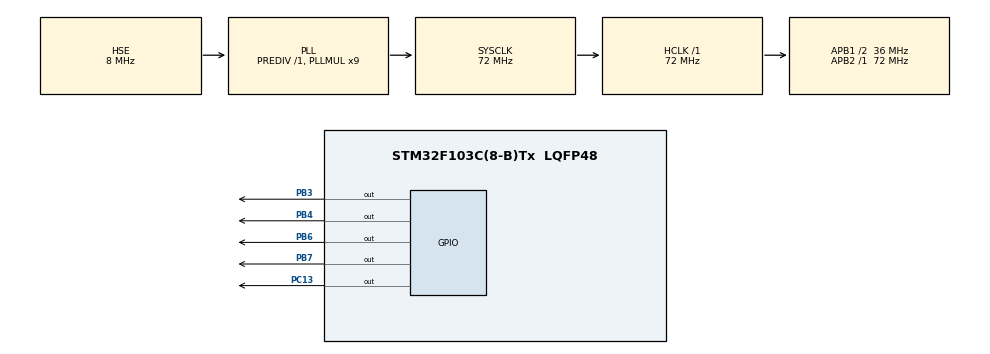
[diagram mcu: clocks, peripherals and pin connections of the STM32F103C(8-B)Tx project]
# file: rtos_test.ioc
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FREERTOS.Tasks01=defaultTask,-1,128,StartDefaultTask,Default,NULL,Dynamic,NULL,NULL;motorATask,0,128,StartMotorATask,Default,NULL,Dynamic,NULL,NULL;motorBTask,0,128,StartMotorBTask,Default,NULL,Dynamic,NULL,NULL
Mcu.Family=STM32F1
Mcu.Name=STM32F103C(8-B)Tx
Mcu.Package=LQFP48
NVIC.PriorityGroup=NVIC_PRIORITYGROUP_4
NVIC.TIM4_IRQn=true\:0\:0\:false\:false\:true\:false\:false\:true
NVIC.TimeBase=TIM4_IRQn
NVIC.TimeBaseIP=TIM4
PA13.Mode=Serial_Wire
PA13.Signal=SYS_JTMS-SWDIO
PA14.Mode=Serial_Wire
PA14.Signal=SYS_JTCK-SWCLK
PB3.Signal=GPIO_Output
PB4.Signal=GPIO_Output
PB6.Signal=GPIO_Output
PB7.Signal=GPIO_Output
PC13-TAMPER-RTC.Signal=GPIO_Output
PD0-OSC_IN.Mode=HSE-External-Oscillator
PD0-OSC_IN.Signal=RCC_OSC_IN
PD1-OSC_OUT.Mode=HSE-External-Oscillator
PD1-OSC_OUT.Signal=RCC_OSC_OUT
ProjectManager.HeapSize=0x200
ProjectManager.StackSize=0x400
ProjectManager.TargetToolchain=MDK-ARM V5.27
RCC.AHBFreq_Value=72000000
RCC.APB1CLKDivider=RCC_HCLK_DIV2
RCC.APB1Freq_Value=36000000
RCC.APB1TimFreq_Value=72000000
RCC.APB2Freq_Value=72000000
RCC.APB2TimFreq_Value=72000000
RCC.HCLKFreq_Value=72000000
RCC.PLLMUL=RCC_PLL_MUL9
RCC.PLLSourceVirtual=RCC_PLLSOURCE_HSE
RCC.SYSCLKFreq_VALUE=72000000
RCC.SYSCLKSource=RCC_SYSCLKSOURCE_PLLCLK
RCC.USBFreq_Value=72000000
VP_FREERTOS_VS_CMSIS_V1.Mode=CMSIS_V1
VP_SYS_VS_tim4.Mode=TIM4
board=custom

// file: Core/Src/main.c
/* USER CODE BEGIN Header */
/**
  ******************************************************************************
  * @file           : main.c
  * @brief          : Main program body
  ******************************************************************************
  * @attention
  *
  * <h2><center>&copy; Copyright (c) 2025 STMicroelectronics.
  * All rights reserved.</center></h2>
  *
  * This software component is licensed by ST under Ultimate Liberty license
  * SLA0044, the "License"; You may not use this file except in compliance with
  * the License. You may obtain a copy of the License at:
  *                             www.st.com/SLA0044
  *
  ******************************************************************************
  */
/* USER CODE END Header */
#include "main.h"
#include "cmsis_os.h"

osThreadId defaultTaskHandle;
osThreadId motorATaskHandle;
osThreadId motorBTaskHandle;

void SystemClock_Config(void);
static void MX_GPIO_Init(void);
void StartDefaultTask(void const * argument);
void StartMotorATask(void const * argument);
void StartMotorBTask(void const * argument);

/* USER CODE BEGIN PFP */
void Stepper_a(int n, GPIO_PinState PinState, int delay);
void Stepper_b(int n, GPIO_PinState PinState, int delay);
/* USER CODE END PFP */

int main(void)
{

  /* MCU Configuration--------------------------------------------------------*/

  /* Reset of all peripherals, Initializes the Flash interface and the Systick. */
  HAL_Init();

  /* Configure the system clock */
  SystemClock_Config();

  /* Initialize all configured peripherals */
  MX_GPIO_Init();
  /* USER CODE BEGIN 2 */
	HAL_GPIO_WritePin(GPIOB, GPIO_PIN_3, GPIO_PIN_RESET); //STEP Pin on the driver 1
	HAL_GPIO_WritePin(GPIOB, GPIO_PIN_7, GPIO_PIN_RESET); //STEP Pin on the driver 2

  /* USER CODE END 2 */

  /* Create the thread(s) */
  /* definition and creation of defaultTask */
  osThreadDef(defaultTask, StartDefaultTask, osPriorityBelowNormal, 0, 128);
  defaultTaskHandle = osThreadCreate(osThread(defaultTask), NULL);

  /* definition and creation of motorATask */
  osThreadDef(motorATask, StartMotorATask, osPriorityNormal, 0, 128);
  motorATaskHandle = osThreadCreate(osThread(motorATask), NULL);

  /* definition and creation of motorBTask */
  osThreadDef(motorBTask, StartMotorBTask, osPriorityNormal, 0, 128);
  motorBTaskHandle = osThreadCreate(osThread(motorBTask), NULL);

  /* Start scheduler */
  osKernelStart();

  /* We should never get here as control is now taken by the scheduler */
  /* Infinite loop */
  while (1)
  {
    /* USER CODE BEGIN 3 */
  }

}

void Stepper_a(int n, GPIO_PinState PinState, int delay)
{
		//Direction
		HAL_GPIO_WritePin(GPIOB, GPIO_PIN_4, PinState);

		//Steps
		for(int i=0; i<n; i++)
		{
				HAL_GPIO_WritePin(GPIOB, GPIO_PIN_3, GPIO_PIN_SET);
				HAL_Delay(delay);
				HAL_GPIO_WritePin(GPIOB, GPIO_PIN_3, GPIO_PIN_RESET);
				HAL_Delay(delay);
		}
}

void Stepper_b(int n, GPIO_PinState PinState, int delay)
{
		//Direction
		HAL_GPIO_WritePin(GPIOB, GPIO_PIN_6, PinState);

		//Steps
		for(int i=0; i<n; i++)
		{
				HAL_GPIO_WritePin(GPIOB, GPIO_PIN_7, GPIO_PIN_SET);
				HAL_Delay(delay);
				HAL_GPIO_WritePin(GPIOB, GPIO_PIN_7, GPIO_PIN_RESET);
				HAL_Delay(delay);
		}
}

/* USER CODE END 3 */
void SystemClock_Config(void)
{
  RCC_OscInitTypeDef RCC_OscInitStruct = {0};
  RCC_ClkInitTypeDef RCC_ClkInitStruct = {0};

  /** Initializes the RCC Oscillators according to the specified parameters
  * in the RCC_OscInitTypeDef structure.
  */
  RCC_OscInitStruct.OscillatorType = RCC_OSCILLATORTYPE_HSE;
  RCC_OscInitStruct.HSEState = RCC_HSE_ON;
  RCC_OscInitStruct.HSEPredivValue = RCC_HSE_PREDIV_DIV1;
  RCC_OscInitStruct.HSIState = RCC_HSI_ON;
  RCC_OscInitStruct.PLL.PLLState = RCC_PLL_ON;
  RCC_OscInitStruct.PLL.PLLSource = RCC_PLLSOURCE_HSE;
  RCC_OscInitStruct.PLL.PLLMUL = RCC_PLL_MUL9;
  if (HAL_RCC_OscConfig(&RCC_OscInitStruct) != HAL_OK)
  {
    Error_Handler();
  }
  /** Initializes the CPU, AHB and APB buses clocks
  */
  RCC_ClkInitStruct.ClockType = RCC_CLOCKTYPE_HCLK|RCC_CLOCKTYPE_SYSCLK
                              |RCC_CLOCKTYPE_PCLK1|RCC_CLOCKTYPE_PCLK2;
  RCC_ClkInitStruct.SYSCLKSource = RCC_SYSCLKSOURCE_PLLCLK;
  RCC_ClkInitStruct.AHBCLKDivider = RCC_SYSCLK_DIV1;
  RCC_ClkInitStruct.APB1CLKDivider = RCC_HCLK_DIV2;
  RCC_ClkInitStruct.APB2CLKDivider = RCC_HCLK_DIV1;

  if (HAL_RCC_ClockConfig(&RCC_ClkInitStruct, FLASH_LATENCY_2) != HAL_OK)
  {
    Error_Handler();
  }
}

static void MX_GPIO_Init(void)
{
  GPIO_InitTypeDef GPIO_InitStruct = {0};

  /* GPIO Ports Clock Enable */
  __HAL_RCC_GPIOC_CLK_ENABLE();
  __HAL_RCC_GPIOD_CLK_ENABLE();
  __HAL_RCC_GPIOA_CLK_ENABLE();
  __HAL_RCC_GPIOB_CLK_ENABLE();

  /*Configure GPIO pin Output Level */
  HAL_GPIO_WritePin(GPIOC, GPIO_PIN_13, GPIO_PIN_RESET);

  /*Configure GPIO pin Output Level */
  HAL_GPIO_WritePin(GPIOB, GPIO_PIN_3|GPIO_PIN_4|GPIO_PIN_6|GPIO_PIN_7, GPIO_PIN_RESET);

  /*Configure GPIO pin : PC13 */
  GPIO_InitStruct.Pin = GPIO_PIN_13;
  GPIO_InitStruct.Mode = GPIO_MODE_OUTPUT_PP;
  GPIO_InitStruct.Pull = GPIO_NOPULL;
  GPIO_InitStruct.Speed = GPIO_SPEED_FREQ_LOW;
  HAL_GPIO_Init(GPIOC, &GPIO_InitStruct);

  /*Configure GPIO pins : PB3 PB4 PB6 PB7 */
  GPIO_InitStruct.Pin = GPIO_PIN_3|GPIO_PIN_4|GPIO_PIN_6|GPIO_PIN_7;
  GPIO_InitStruct.Mode = GPIO_MODE_OUTPUT_PP;
  GPIO_InitStruct.Pull = GPIO_NOPULL;
  GPIO_InitStruct.Speed = GPIO_SPEED_FREQ_LOW;
  HAL_GPIO_Init(GPIOB, &GPIO_InitStruct);

}

void StartDefaultTask(void const * argument)
{
  /* USER CODE BEGIN 5 */
  /* Infinite loop */
  for(;;)
  {
		HAL_GPIO_TogglePin(GPIOC, GPIO_PIN_13);
    osDelay(200);
  }
  /* USER CODE END 5 */
}

void StartMotorATask(void const * argument)
{
  /* USER CODE BEGIN StartMotorATask */
  /* Infinite loop */
	uint8_t a_cnt = 0;
  for(;;)
  {
		if(a_cnt < 20)
			Stepper_a(1, 0, 5);
		else if(a_cnt < 40)
			Stepper_a(1, 1, 5);

		a_cnt++;
		if(a_cnt >= 40)
			a_cnt = 0;

    osDelay(10);
  }
  /* USER CODE END StartMotorATask */
}

void StartMotorBTask(void const * argument)
{
  /* USER CODE BEGIN StartMotorBTask */
  /* Infinite loop */
	uint8_t b_cnt = 0;
  for(;;)
  {
		if(b_cnt < 20)
			Stepper_b(1, 0, 5);
		else if(b_cnt < 40)
			Stepper_b(1, 1, 5);

		b_cnt++;
		if(b_cnt >= 40)
			b_cnt = 0;

    osDelay(10);
  }
  /* USER CODE END StartMotorBTask */
}

void HAL_TIM_PeriodElapsedCallback(TIM_HandleTypeDef *htim)
{
  if (htim->Instance == TIM4) {
    HAL_IncTick();
  }
}

void Error_Handler(void)
{
}

/************************ (C) COPYRIGHT STMicroelectronics *****END OF FILE****/
